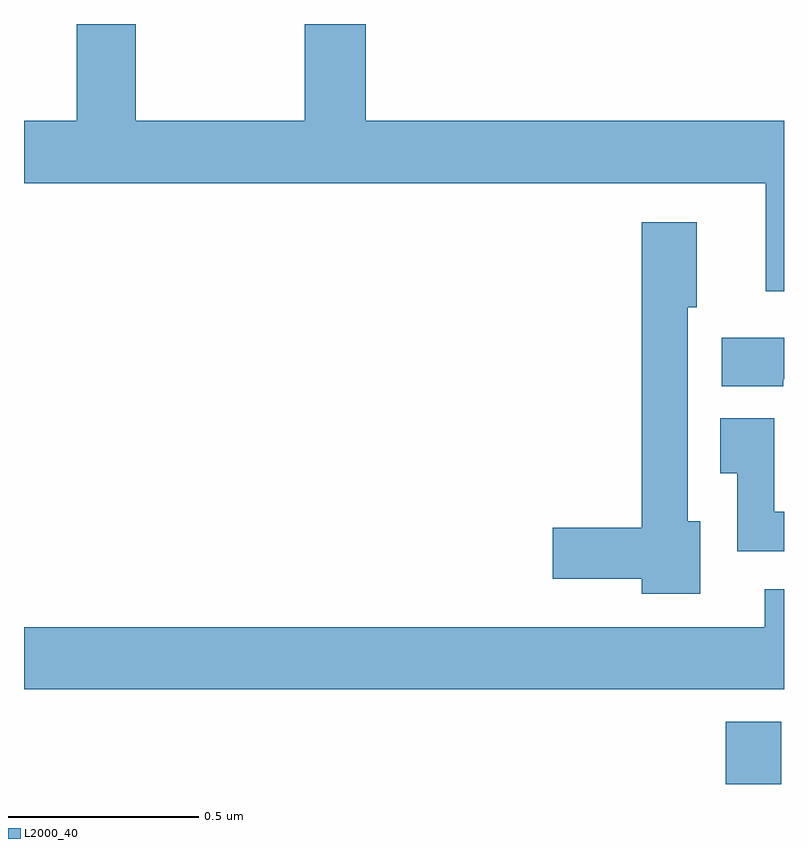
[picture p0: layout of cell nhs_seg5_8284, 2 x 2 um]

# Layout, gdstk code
import gdstk
lib = gdstk.Library(unit=1e-6, precision=1e-09)
def R(c, l, rs):  # rectangles x0, y0, x1, y1
    for r in rs: c.add(gdstk.rectangle(r[:2], r[2:], *l))
def P(c, l, *ps):  # polygons
    for p in ps: c.add(gdstk.Polygon(p, *l))
L2000_40 = (2000, 40)

nhs_seg5_8284 = lib.new_cell('nhs_seg5_8284')
R(nhs_seg5_8284, L2000_40, [(220.847,901.799,220.993,901.963)])
P(nhs_seg5_8284, L2000_40, [(221,903.544),(219.899,903.544),(219.899,903.799),(219.739,903.799),(219.739,903.544),(219.294,903.544),(219.294,903.799),(219.139,903.799),(219.139,903.544),(219,903.544),(219,903.38),(220.952,903.38),(220.952,903.096),(221,903.096)],
  [(220.78,902.491),(220.747,902.491),(220.747,903.054),(220.771,903.054),(220.771,903.277),(220.625,903.277),(220.625,902.474),(220.392,902.474),(220.392,902.339),(220.625,902.339),(220.625,902.3),(220.78,902.3)],
  [(220.998,902.864),(221,902.864),(221,902.974),(220.836,902.974),(220.836,902.846),(220.998,902.846)],
  [(221,902.515),(220.974,902.515),(220.974,902.761),(220.832,902.761),(220.832,902.617),(220.877,902.617),(220.877,902.411),(221,902.411)],
  [(221,902.311),(220.949,902.311),(220.949,902.212),(219,902.212),(219,902.048),(221,902.048)])

lib.write_gds('nhs_seg5_8284.gds')
